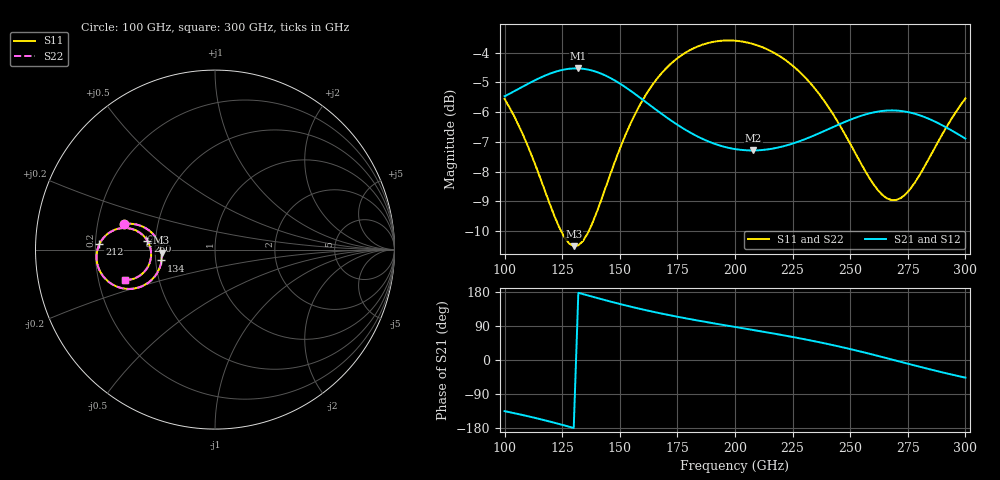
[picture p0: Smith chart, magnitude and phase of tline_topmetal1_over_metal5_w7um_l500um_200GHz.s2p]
#  GHZ S DB R 50
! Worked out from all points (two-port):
!   101 points, 100 GHz to 300 GHz, reference 50 ohm
!   highest |S21| = -4.53 dB at 132 GHz (marker M1); lowest = -7.3 dB at 208 GHz (marker M2)
!   |S21| within 3 dB of the highest: start of sweep to end of sweep
!   lowest |S11| = -10.5 dB at 130 GHz (marker M3), VSWR 1.85, Z = 27 - j1.01 ohm
!   |S11| at or under -10 dB: 124.5 GHz to 136.5 GHz (12 GHz wide, 9.19 % of centre)
!   |S22| runs from -10.5 to -3.6 dB; largest |S21 - S12| = 0
!   S11 on the Smith chart (normalised r, x): 100 GHz: 0.31, +0.12; 134 GHz: 0.54, -0.07; 212 GHz: 0.22, +0.02; 260 GHz: 0.45, +0.05; 300 GHz: 0.32, -0.15
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100  -5.56 164.4  -5.46 -135.1  -5.46 -135.1  -5.56 164.4
114  -7.91 162.9  -4.89 -154.0  -4.89 -154.0  -7.92 162.9
124  -9.92 172.0  -4.60 -169.5  -4.60 -169.5  -9.94 172.0
130  -10.51 -176.7  -4.53 -179.3  -4.53 -179.3  -10.53 -176.7
132  -10.48 -172.6  -4.53 177.3  -4.53 177.3  -10.50 -172.5
134  -10.34 -168.6  -4.54 174.0  -4.54 174.0  -10.35 -168.5
142  -8.94 -156.9  -4.71 160.6  -4.71 160.6  -8.95 -156.8
152  -6.85 -153.4  -5.14 144.8  -5.14 144.8  -6.86 -153.3
160  -5.58 -155.4  -5.58 133.3  -5.58 133.3  -5.58 -155.3
168  -4.70 -159.2  -6.05 122.7  -6.05 122.7  -4.70 -159.1
184  -3.78 -168.0  -6.83 104.0  -6.83 104.0  -3.78 -167.9
200  -3.59 -176.7  -7.24 87.2  -7.24 87.2  -3.59 -176.6
208  -3.71 179.2  -7.29 79.0  -7.29 79.0  -3.71 179.3
212  -3.82 177.2  -7.27 74.9  -7.27 74.9  -3.82 177.3
234  -5.14 167.9  -6.79 50.1  -6.79 50.1  -5.14 168.0
248  -6.78 166.2  -6.32 31.7  -6.32 31.7  -6.78 166.3
260  -8.41 172.5  -6.01 13.9  -6.01 13.9  -8.41 172.6
268  -8.96 -178.2  -5.94 1.4  -5.94 1.4  -8.95 -178.1
274  -8.77 -170.6  -5.98 -8.1  -5.98 -8.1  -8.75 -170.6
282  -7.87 -163.3  -6.16 -20.6  -6.16 -20.6  -7.86 -163.3
290  -6.74 -160.5  -6.44 -32.6  -6.44 -32.6  -6.74 -160.5
300  -5.54 -161.3  -6.89 -46.6  -6.89 -46.6  -5.53 -161.3
